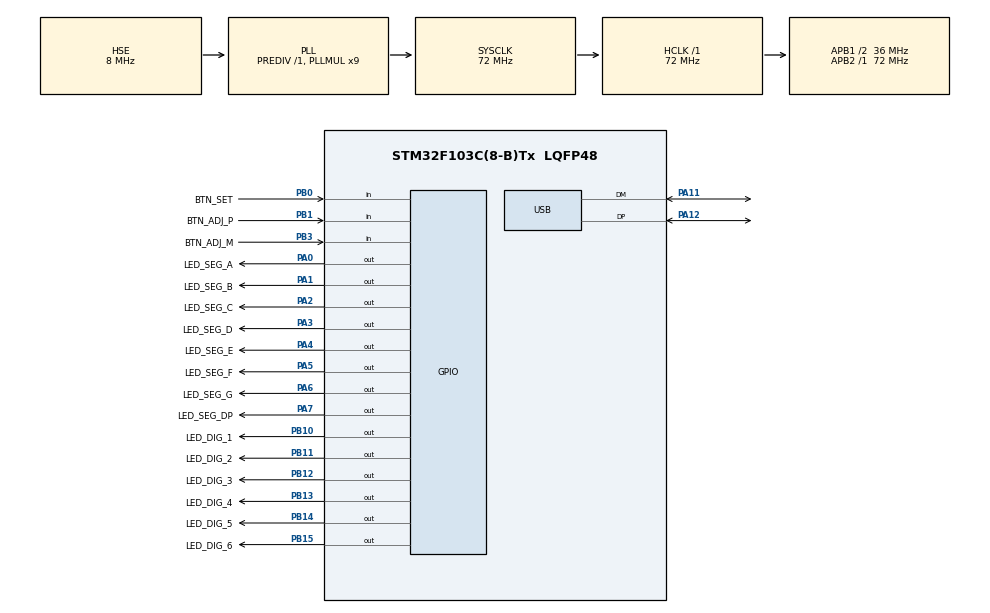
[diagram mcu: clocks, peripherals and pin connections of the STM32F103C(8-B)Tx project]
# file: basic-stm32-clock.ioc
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Mcu.Family=STM32F1
Mcu.Name=STM32F103C(8-B)Tx
Mcu.Package=LQFP48
NVIC.PriorityGroup=NVIC_PRIORITYGROUP_4
NVIC.RTC_IRQn=true\:0\:0\:false\:false\:true\:true\:true\:true
NVIC.USB_LP_CAN1_RX0_IRQn=true\:0\:0\:false\:false\:true\:false\:true\:true
PA0-WKUP.GPIO_Label=LED_SEG_A
PA0-WKUP.GPIO_Speed=GPIO_SPEED_FREQ_LOW
PA0-WKUP.Signal=GPIO_Output
PA1.GPIO_Label=LED_SEG_B
PA1.GPIO_Speed=GPIO_SPEED_FREQ_LOW
PA1.Signal=GPIO_Output
PA11.Mode=Device
PA11.Signal=USB_DM
PA12.Mode=Device
PA12.Signal=USB_DP
PA13.Mode=Serial_Wire
PA13.Signal=SYS_JTMS-SWDIO
PA14.Mode=Serial_Wire
PA14.Signal=SYS_JTCK-SWCLK
PA2.GPIO_Label=LED_SEG_C
PA2.GPIO_Speed=GPIO_SPEED_FREQ_LOW
PA2.Signal=GPIO_Output
PA3.GPIO_Label=LED_SEG_D
PA3.GPIO_Speed=GPIO_SPEED_FREQ_LOW
PA3.Signal=GPIO_Output
PA4.GPIO_Label=LED_SEG_E
PA4.GPIO_Speed=GPIO_SPEED_FREQ_LOW
PA4.Signal=GPIO_Output
PA5.GPIO_Label=LED_SEG_F
PA5.GPIO_Speed=GPIO_SPEED_FREQ_LOW
PA5.Signal=GPIO_Output
PA6.GPIO_Label=LED_SEG_G
PA6.GPIO_Speed=GPIO_SPEED_FREQ_LOW
PA6.Signal=GPIO_Output
PA7.GPIO_Label=LED_SEG_DP
PA7.GPIO_Speed=GPIO_SPEED_FREQ_LOW
PA7.Signal=GPIO_Output
PB0.GPIO_Label=BTN_SET
PB0.Signal=GPIO_Input
PB1.GPIO_Label=BTN_ADJ_P
PB1.Signal=GPIO_Input
PB10.GPIO_Label=LED_DIG_1
PB10.GPIO_Speed=GPIO_SPEED_FREQ_LOW
PB10.Signal=GPIO_Output
PB11.GPIO_Label=LED_DIG_2
PB11.GPIO_Speed=GPIO_SPEED_FREQ_LOW
PB11.Signal=GPIO_Output
PB12.GPIO_Label=LED_DIG_3
PB12.GPIO_Speed=GPIO_SPEED_FREQ_LOW
PB12.Signal=GPIO_Output
PB13.GPIO_Label=LED_DIG_4
PB13.GPIO_Speed=GPIO_SPEED_FREQ_LOW
PB13.Signal=GPIO_Output
PB14.GPIO_Label=LED_DIG_5
PB14.GPIO_Speed=GPIO_SPEED_FREQ_LOW
PB14.Signal=GPIO_Output
PB15.GPIO_Label=LED_DIG_6
PB15.GPIO_Speed=GPIO_SPEED_FREQ_LOW
PB15.Signal=GPIO_Output
PB3.GPIO_Label=BTN_ADJ_M
PB3.Signal=GPIO_Input
PC14-OSC32_IN.Mode=LSE-External-Oscillator
PC14-OSC32_IN.Signal=RCC_OSC32_IN
PC15-OSC32_OUT.Mode=LSE-External-Oscillator
PC15-OSC32_OUT.Signal=RCC_OSC32_OUT
PD0-OSC_IN.Mode=HSE-External-Oscillator
PD0-OSC_IN.Signal=RCC_OSC_IN
PD1-OSC_OUT.Mode=HSE-External-Oscillator
PD1-OSC_OUT.Signal=RCC_OSC_OUT
ProjectManager.HeapSize=0x200
ProjectManager.StackSize=0x400
ProjectManager.TargetToolchain=STM32CubeIDE
RCC.AHBFreq_Value=72000000
RCC.APB1CLKDivider=RCC_HCLK_DIV2
RCC.APB1Freq_Value=36000000
RCC.APB1TimFreq_Value=72000000
RCC.APB2Freq_Value=72000000
RCC.APB2TimFreq_Value=72000000
RCC.HCLKFreq_Value=72000000
RCC.PLLMUL=RCC_PLL_MUL9
RCC.RTCClockSelection=RCC_RTCCLKSOURCE_LSE
RCC.SYSCLKFreq_VALUE=72000000
RCC.SYSCLKSource=RCC_SYSCLKSOURCE_PLLCLK
RCC.USBFreq_Value=48000000
RCC.USBPrescaler=RCC_USBCLKSOURCE_PLL_DIV1_5
USB_DEVICE.CLASS_NAME_FS=CDC
USB_DEVICE.VirtualMode=Cdc
USB_DEVICE.VirtualModeFS=Cdc_FS
VP_RTC_VS_RTC_Activate.Mode=RTC_Enabled
VP_RTC_VS_RTC_Calendar.Mode=RTC_Calendar
VP_USB_DEVICE_VS_USB_DEVICE_CDC_FS.Mode=CDC_FS
board=custom

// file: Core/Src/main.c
/* USER CODE BEGIN Header */
/**
 ******************************************************************************
 * @file           : main.c
 * @brief          : Main program body
 ******************************************************************************
 * @attention
 *
 * Copyright (c) 2023 STMicroelectronics.
 * All rights reserved.
 *
 * This software is licensed under terms that can be found in the LICENSE file
 * in the root directory of this software component.
 * If no LICENSE file comes with this software, it is provided AS-IS.
 *
 ******************************************************************************
 */
/* USER CODE END Header */
#include "main.h"
#include "usb_device.h"

/* USER CODE BEGIN Includes */
#include "utils.h"
#include "usbd_cdc_if.h"
#include "stdio.h"
#include "string.h"

/* USER CODE END Includes */

RTC_HandleTypeDef hrtc;

void SystemClock_Config(void);
static void MX_GPIO_Init(void);
static void MX_RTC_Init(void);

/* USER CODE BEGIN 0 */
volatile SystemMode current_mode;
uint32_t counter = 0;
RTC_TimeTypeDef current_time;
RTC_TimeTypeDef user_time;
uint8_t user_time_dirty = 0;
SystemState sys_state = { .digits = { 0 }, .dps = { 0 } };

Button btn_set = { BTN_SET_Pin, BTN_GPIO_Port, 0, 0, 0, 10000 };
Button btn_adj_p = { BTN_ADJ_P_Pin, BTN_GPIO_Port, 0, 0, 0, 10000 };
Button btn_adj_m = { BTN_ADJ_M_Pin, BTN_GPIO_Port, 0, 0, 0, 10000 };

RTC_DateTypeDef DateToUpdate = { 0 };

LEDFlasher dp_flasher = { .dp_idx = 0, .flash = 0, .timer = 0 };

unsigned char strTick[4] = "Tick";

static const uint8_t segmentNumber[10] = { 0x3f, // 0
		0x06, // 1
		0x5b, // 2
		0x4f, // 3
		0x66, // 4
		0x6d, // 5
		0x7d, // 6
		0x07, // 7
		0x7f, // 8
		0x67  // 9
		};

void display_digit_dp(uint8_t digit, uint8_t num, uint8_t dp) {
	// Turn off all segments
	HAL_GPIO_WritePin(LED_SEG_GPIO_Port,
			LED_SEG_A_Pin | LED_SEG_B_Pin | LED_SEG_C_Pin | LED_SEG_D_Pin
					| LED_SEG_E_Pin | LED_SEG_F_Pin | LED_SEG_G_Pin
					| LED_SEG_DP_Pin, GPIO_PIN_RESET);

	// Turn off all digits
	HAL_GPIO_WritePin(LED_DIG_GPIO_Port,
			LED_DIG_1_Pin | LED_DIG_2_Pin | LED_DIG_3_Pin | LED_DIG_4_Pin
					| LED_DIG_5_Pin | LED_DIG_6_Pin, GPIO_PIN_SET);

	uint8_t segments = (num < 10) ? segmentNumber[num] : 0;
	if (dp)
		segments |= (1 << 7);

	HAL_GPIO_WritePin(LED_SEG_GPIO_Port, LED_SEG_A_Pin,
			((segments >> 0) & 0x01));
	HAL_GPIO_WritePin(LED_SEG_GPIO_Port, LED_SEG_B_Pin,
			((segments >> 1) & 0x01));
	HAL_GPIO_WritePin(LED_SEG_GPIO_Port, LED_SEG_C_Pin,
			((segments >> 2) & 0x01));
	HAL_GPIO_WritePin(LED_SEG_GPIO_Port, LED_SEG_D_Pin,
			((segments >> 3) & 0x01));
	HAL_GPIO_WritePin(LED_SEG_GPIO_Port, LED_SEG_E_Pin,
			((segments >> 4) & 0x01));
	HAL_GPIO_WritePin(LED_SEG_GPIO_Port, LED_SEG_F_Pin,
			((segments >> 5) & 0x01));
	HAL_GPIO_WritePin(LED_SEG_GPIO_Port, LED_SEG_G_Pin,
			((segments >> 6) & 0x01));
	HAL_GPIO_WritePin(LED_SEG_GPIO_Port, LED_SEG_DP_Pin,
			((segments >> 7) & 0x01));

	// Finally, turn on the desired digit
	HAL_GPIO_WritePin(LED_DIG_GPIO_Port, 1 << (digit + 10), GPIO_PIN_RESET);
}

void clear_display() {
	// Turn off all segments
	HAL_GPIO_WritePin(LED_SEG_GPIO_Port,
			LED_SEG_A_Pin | LED_SEG_B_Pin | LED_SEG_C_Pin | LED_SEG_D_Pin
					| LED_SEG_E_Pin | LED_SEG_F_Pin | LED_SEG_G_Pin
					| LED_SEG_DP_Pin, GPIO_PIN_RESET);

	// Turn off all digits
	HAL_GPIO_WritePin(LED_DIG_GPIO_Port,
			LED_DIG_1_Pin | LED_DIG_2_Pin | LED_DIG_3_Pin | LED_DIG_4_Pin
					| LED_DIG_5_Pin | LED_DIG_6_Pin, GPIO_PIN_SET);
}

void update_time(RTC_TimeTypeDef *time, SystemState *state) {
	state->digits[0] = (time->Hours & 0xF0) >> 4;
	state->digits[1] = time->Hours & 0x0F;
	state->digits[2] = (time->Minutes & 0xF0) >> 4;
	state->digits[3] = time->Minutes & 0x0F;
	state->digits[4] = (time->Seconds & 0xF0) >> 4;
	state->digits[5] = time->Seconds & 0x0F;

}

void check_button(Button *button) {
	uint32_t currentTime = HAL_GetTick();
	if (currentTime - button->lassPressTime < button->cooldownPeriod) {
		return;
	}

	if (HAL_GPIO_ReadPin(button->port, button->pin) == GPIO_PIN_SET) {
		if (button->counter < DEBOUNCE_THRESHOLD) {
			button->counter++;

		}
		if (button->counter >= DEBOUNCE_THRESHOLD) {
			if (!button->processed) {
				button->pressed = 1;
				button->processed = 1;  // Mark the button press as processed
				button->lassPressTime = currentTime; // Update the last press time

			} else {
				// Button held past processed
				button->pressed = 0;
			}

		}
	} else {
		button->counter = DEBOUNCE_RESET;
		button->processed = 0;  // Clear the processed flag
		button->pressed = 0;    // Clear the pressed flag
	}
}

void check_buttons() {
	check_button(&btn_set);
	check_button(&btn_adj_p);
	check_button(&btn_adj_m);
}

void update_display(SystemState *state) {
	if (dp_flasher.flash) {
		state->dps[dp_flasher.dp_idx] = 1;

		if (HAL_GetTick() - dp_flasher.timer >= 100) {
			state->dps[dp_flasher.dp_idx] = 0;
			dp_flasher.flash = 0;
		}
	}

	for (uint8_t d = 0; d < 6; d++) {
		display_digit_dp(d, state->digits[d], state->dps[d]);
		HAL_Delay(1);
		clear_display();
	}
}

void serialDebug(const char *message) {
	char buffer[256];

	uint8_t day = bcd_to_bin(DateToUpdate.Date);
	uint8_t month = bcd_to_bin(DateToUpdate.Month);
	uint16_t year = bcd_to_bin(DateToUpdate.Year) + 2000;
	uint8_t hours = bcd_to_bin(current_time.Hours);
	uint8_t minutes = bcd_to_bin(current_time.Minutes);
	uint8_t seconds = bcd_to_bin(current_time.Seconds);

	snprintf(buffer, sizeof(buffer), "%02d-%02d-%04d %02d:%02d:%02d > %s\r\n",
			day, month, year, hours, minutes, seconds, message);

	CDC_Transmit_FS((uint8_t*) buffer, strlen(buffer));
}

/* USER CODE END 0 */

int main(void) {
	/* USER CODE BEGIN 1 */
	current_mode = NORMAL;

	/* USER CODE END 1 */

	/* MCU Configuration--------------------------------------------------------*/

	/* Reset of all peripherals, Initializes the Flash interface and the Systick. */
	HAL_Init();

	/* Configure the system clock */
	SystemClock_Config();

	/* Initialize all configured peripherals */
	MX_GPIO_Init();
	MX_RTC_Init();
	MX_USB_DEVICE_Init();
	/* USER CODE BEGIN 2 */

	HAL_GPIO_WritePin(LED_SEG_GPIO_Port, LED_SEG_A_Pin, GPIO_PIN_RESET);
	HAL_GPIO_WritePin(LED_SEG_GPIO_Port, LED_SEG_B_Pin, GPIO_PIN_RESET);
	HAL_GPIO_WritePin(LED_SEG_GPIO_Port, LED_SEG_C_Pin, GPIO_PIN_RESET);
	HAL_GPIO_WritePin(LED_SEG_GPIO_Port, LED_SEG_D_Pin, GPIO_PIN_RESET);
	HAL_GPIO_WritePin(LED_SEG_GPIO_Port, LED_SEG_E_Pin, GPIO_PIN_RESET);
	HAL_GPIO_WritePin(LED_SEG_GPIO_Port, LED_SEG_F_Pin, GPIO_PIN_RESET);
	HAL_GPIO_WritePin(LED_SEG_GPIO_Port, LED_SEG_G_Pin, GPIO_PIN_RESET);
	HAL_GPIO_WritePin(LED_SEG_GPIO_Port, LED_SEG_DP_Pin, GPIO_PIN_RESET);

	HAL_GPIO_WritePin(LED_DIG_GPIO_Port,
			LED_DIG_1_Pin | LED_DIG_2_Pin | LED_DIG_3_Pin | LED_DIG_4_Pin
					| LED_DIG_5_Pin | LED_DIG_6_Pin, GPIO_PIN_SET);

	sys_state.dps[0] = 0;
	sys_state.dps[1] = 0;
	sys_state.dps[2] = 0;
	sys_state.dps[3] = 0;
	sys_state.dps[4] = 0;
	sys_state.dps[5] = 0;

	HAL_RTC_GetTime(&hrtc, &current_time, RTC_FORMAT_BCD);
	HAL_RTC_GetTime(&hrtc, &user_time, RTC_FORMAT_BCD);

	HAL_RTCEx_SetSecond_IT(&hrtc);

	// Read buffer
	uint8_t rxData[8];
	memset(rxData, 0, 8);

	// Send UART start
	serialDebug("Init Complete. Starting...");

	/* USER CODE END 2 */

	/* Infinite loop */
	/* USER CODE BEGIN WHILE */
	while (1) {

		// 1. Check for button presses
		check_buttons();

		// 2. Update System State & Mode
		switch (current_mode) {
		case NORMAL:
			if (btn_set.pressed) {
				current_mode = SET_HOURS;
				serialDebug("set hours mode");
			} else {
				// Update time from RTC
				HAL_RTC_GetTime(&hrtc, &current_time, RTC_FORMAT_BCD);
				update_time(&current_time, &sys_state);
				update_display(&sys_state);
			}

			break;

		case SET_HOURS:
			if (btn_adj_p.pressed) {
				user_time.Hours = (user_time.Hours + 1) % 24;
				user_time_dirty = 1;
				serialDebug("+ hours");
			}

			if (btn_adj_m.pressed) {
				user_time.Hours = (user_time.Hours - 1 + 24) % 24; // Not sure if this is right
				user_time_dirty = 1;
				serialDebug("- hours");
			}

			if (btn_set.pressed) {
				current_mode = SET_MINUTES;
				serialDebug("set minutes mode");
			} else {
				// Draw the display, show only hours
				update_time(&user_time, &sys_state);
				sys_state.digits[2] = 10;
				sys_state.digits[3] = 10;
				sys_state.digits[4] = 10;
				sys_state.digits[5] = 10;
				update_display(&sys_state);
			}

			break;

		case SET_MINUTES:
			if (btn_adj_p.pressed) {
				user_time.Minutes = (user_time.Minutes + 1) % 60;
				user_time_dirty = 1;
				serialDebug("+ min");
			}

			if (btn_adj_m.pressed) {
				user_time.Minutes = (user_time.Minutes - 1 + 60) % 60;
				user_time_dirty = 1;
				serialDebug("- min");
			}

			if (btn_set.pressed) {
				current_mode = SET_SECONDS;
				serialDebug("set seconds mode");
			} else {
				// Draw the display, show only minutes
				update_time(&user_time, &sys_state);
				sys_state.digits[0] = 10;
				sys_state.digits[1] = 10;
				sys_state.digits[4] = 10;
				sys_state.digits[5] = 10;
				update_display(&sys_state);
			}

			break;

		case SET_SECONDS:
			if (btn_adj_p.pressed) {
				user_time.Seconds = (user_time.Seconds + 1) % 60;
				user_time_dirty = 1;
				serialDebug("+ sec");
			}

			if (btn_adj_m.pressed) {
				user_time.Seconds = (user_time.Seconds - 1 + 60) % 60;
				user_time_dirty = 1;
				serialDebug("- sec");
			}

			if (btn_set.pressed) {
				if (user_time_dirty) {
					serialDebug("time dirty, updating");
					update_time(&user_time, &sys_state);
					current_time.Hours = user_time.Hours;
					current_time.Minutes = user_time.Minutes;
					current_time.Seconds = user_time.Seconds;
					HAL_RTC_SetTime(&hrtc, &current_time, RTC_FORMAT_BCD);
					user_time_dirty = 0;
				}
				current_mode = NORMAL;
				serialDebug("set normal mode");
			} else {
				// Draw the display, show only seconds
				update_time(&user_time, &sys_state);
				sys_state.digits[0] = 10;
				sys_state.digits[1] = 10;
				sys_state.digits[2] = 10;
				sys_state.digits[3] = 10;
				update_display(&sys_state);
			}

			break;

		}

		// UART
		// Echo data
		uint16_t bytesAvailable = CDC_GetRxBufferBytesAvailable_FS();
		if (bytesAvailable > 0) {
			uint16_t bytesToRead = bytesAvailable >= 8 ? 8 : bytesAvailable;
			if (CDC_ReadRxBuffer_FS(rxData, bytesToRead)
					== USB_CDC_RX_BUFFER_OK) {
				while (CDC_Transmit_FS(rxData, bytesToRead) == USBD_BUSY)
					;
			}
		}

		/* USER CODE END WHILE */

	}
}

void SystemClock_Config(void) {
	RCC_OscInitTypeDef RCC_OscInitStruct = { 0 };
	RCC_ClkInitTypeDef RCC_ClkInitStruct = { 0 };
	RCC_PeriphCLKInitTypeDef PeriphClkInit = { 0 };

	/** Initializes the RCC Oscillators according to the specified parameters
	 * in the RCC_OscInitTypeDef structure.
	 */
	RCC_OscInitStruct.OscillatorType = RCC_OSCILLATORTYPE_HSE
			| RCC_OSCILLATORTYPE_LSE;
	RCC_OscInitStruct.HSEState = RCC_HSE_ON;
	RCC_OscInitStruct.HSEPredivValue = RCC_HSE_PREDIV_DIV1;
	RCC_OscInitStruct.LSEState = RCC_LSE_ON;
	RCC_OscInitStruct.HSIState = RCC_HSI_ON;
	RCC_OscInitStruct.PLL.PLLState = RCC_PLL_ON;
	RCC_OscInitStruct.PLL.PLLSource = RCC_PLLSOURCE_HSE;
	RCC_OscInitStruct.PLL.PLLMUL = RCC_PLL_MUL9;
	if (HAL_RCC_OscConfig(&RCC_OscInitStruct) != HAL_OK) {
		Error_Handler();
	}

	/** Initializes the CPU, AHB and APB buses clocks
	 */
	RCC_ClkInitStruct.ClockType = RCC_CLOCKTYPE_HCLK | RCC_CLOCKTYPE_SYSCLK
			| RCC_CLOCKTYPE_PCLK1 | RCC_CLOCKTYPE_PCLK2;
	RCC_ClkInitStruct.SYSCLKSource = RCC_SYSCLKSOURCE_PLLCLK;
	RCC_ClkInitStruct.AHBCLKDivider = RCC_SYSCLK_DIV1;
	RCC_ClkInitStruct.APB1CLKDivider = RCC_HCLK_DIV2;
	RCC_ClkInitStruct.APB2CLKDivider = RCC_HCLK_DIV1;

	if (HAL_RCC_ClockConfig(&RCC_ClkInitStruct, FLASH_LATENCY_2) != HAL_OK) {
		Error_Handler();
	}
	PeriphClkInit.PeriphClockSelection = RCC_PERIPHCLK_RTC | RCC_PERIPHCLK_USB;
	PeriphClkInit.RTCClockSelection = RCC_RTCCLKSOURCE_LSE;
	PeriphClkInit.UsbClockSelection = RCC_USBCLKSOURCE_PLL_DIV1_5;
	if (HAL_RCCEx_PeriphCLKConfig(&PeriphClkInit) != HAL_OK) {
		Error_Handler();
	}
}

static void MX_RTC_Init(void) {

	/* USER CODE BEGIN RTC_Init 0 */
	HAL_PWR_EnableBkUpAccess();

	/* USER CODE END RTC_Init 0 */

	RTC_TimeTypeDef sTime = { 0 };
	RTC_DateTypeDef DateToUpdate = { 0 };

	/** Initialize RTC Only
	 */
	hrtc.Instance = RTC;
	hrtc.Init.AsynchPrediv = RTC_AUTO_1_SECOND;
	hrtc.Init.OutPut = RTC_OUTPUTSOURCE_ALARM;
	if (HAL_RTC_Init(&hrtc) != HAL_OK) {
		Error_Handler();
	}

	/* USER CODE BEGIN Check_RTC_BKUP */
	if (HAL_RTCEx_BKUPRead(&hrtc, RTC_BKP_DR1) != RTC_BKUP_DEFINE_CODE) {
		// Clear Backup register : recover to current RTC information

		// Set to Time/Date from current Time/Date
		sTime.Hours = 0x0;
		sTime.Minutes = 0x0;
		sTime.Seconds = 0x0;

		if (HAL_RTC_SetTime(&hrtc, &sTime, RTC_FORMAT_BCD) != HAL_OK) {
			Error_Handler();
		}
		DateToUpdate.WeekDay = RTC_WEEKDAY_MONDAY;
		DateToUpdate.Month = RTC_MONTH_JANUARY;
		DateToUpdate.Date = 0x1;
		DateToUpdate.Year = 0x0;

		if (HAL_RTC_SetDate(&hrtc, &DateToUpdate, RTC_FORMAT_BCD) != HAL_OK) {
			Error_Handler();
		}

		// Write a data in ad RTC Backup data register
		HAL_RTCEx_BKUPWrite(&hrtc, RTC_BKP_DR1, RTC_BKUP_DEFINE_CODE);
	} else {
		// Only read time and date
		HAL_RTC_GetTime(&hrtc, &sTime, RTC_FORMAT_BCD);
		HAL_RTC_GetDate(&hrtc, &DateToUpdate, RTC_FORMAT_BCD);

	}
	/* USER CODE END Check_RTC_BKUP */

	/** Initialize RTC and set the Time and Date
	 */
//	sTime.Hours = 0x0;
//	sTime.Minutes = 0x0;
//	sTime.Seconds = 0x0;
//
//	if (HAL_RTC_SetTime(&hrtc, &sTime, RTC_FORMAT_BCD) != HAL_OK) {
//		Error_Handler();
//	}
//	DateToUpdate.WeekDay = RTC_WEEKDAY_MONDAY;
//	DateToUpdate.Month = RTC_MONTH_JANUARY;
//	DateToUpdate.Date = 0x1;
//	DateToUpdate.Year = 0x0;
//
//	if (HAL_RTC_SetDate(&hrtc, &DateToUpdate, RTC_FORMAT_BCD) != HAL_OK) {
//		Error_Handler();
//	}

}

static void MX_GPIO_Init(void) {
	GPIO_InitTypeDef GPIO_InitStruct = { 0 };

	/* GPIO Ports Clock Enable */
	__HAL_RCC_GPIOC_CLK_ENABLE();
	__HAL_RCC_GPIOD_CLK_ENABLE();
	__HAL_RCC_GPIOA_CLK_ENABLE();
	__HAL_RCC_GPIOB_CLK_ENABLE();

	/*Configure GPIO pin Output Level */
	HAL_GPIO_WritePin(GPIOA,
			LED_SEG_A_Pin | LED_SEG_B_Pin | LED_SEG_C_Pin | LED_SEG_D_Pin
					| LED_SEG_E_Pin | LED_SEG_F_Pin | LED_SEG_G_Pin
					| LED_SEG_DP_Pin, GPIO_PIN_RESET);

	/*Configure GPIO pin Output Level */
	HAL_GPIO_WritePin(GPIOB,
			LED_DIG_1_Pin | LED_DIG_2_Pin | LED_DIG_3_Pin | LED_DIG_4_Pin
					| LED_DIG_5_Pin | LED_DIG_6_Pin, GPIO_PIN_RESET);

	/*Configure GPIO pins : LED_SEG_A_Pin LED_SEG_B_Pin LED_SEG_C_Pin LED_SEG_D_Pin
	 LED_SEG_E_Pin LED_SEG_F_Pin LED_SEG_G_Pin LED_SEG_DP_Pin */
	GPIO_InitStruct.Pin = LED_SEG_A_Pin | LED_SEG_B_Pin | LED_SEG_C_Pin
			| LED_SEG_D_Pin | LED_SEG_E_Pin | LED_SEG_F_Pin | LED_SEG_G_Pin
			| LED_SEG_DP_Pin;
	GPIO_InitStruct.Mode = GPIO_MODE_OUTPUT_PP;
	GPIO_InitStruct.Pull = GPIO_NOPULL;
	GPIO_InitStruct.Speed = GPIO_SPEED_FREQ_LOW;
	HAL_GPIO_Init(GPIOA, &GPIO_InitStruct);

	/*Configure GPIO pins : BTN_SET_Pin BTN_ADJ_P_Pin BTN_ADJ_M_Pin */
	GPIO_InitStruct.Pin = BTN_SET_Pin | BTN_ADJ_P_Pin | BTN_ADJ_M_Pin;
	GPIO_InitStruct.Mode = GPIO_MODE_INPUT;
	GPIO_InitStruct.Pull = GPIO_NOPULL;
	HAL_GPIO_Init(GPIOB, &GPIO_InitStruct);

	/*Configure GPIO pins : LED_DIG_1_Pin LED_DIG_2_Pin LED_DIG_3_Pin LED_DIG_4_Pin
	 LED_DIG_5_Pin LED_DIG_6_Pin */
	GPIO_InitStruct.Pin = LED_DIG_1_Pin | LED_DIG_2_Pin | LED_DIG_3_Pin
			| LED_DIG_4_Pin | LED_DIG_5_Pin | LED_DIG_6_Pin;
	GPIO_InitStruct.Mode = GPIO_MODE_OUTPUT_PP;
	GPIO_InitStruct.Pull = GPIO_NOPULL;
	GPIO_InitStruct.Speed = GPIO_SPEED_FREQ_LOW;
	HAL_GPIO_Init(GPIOB, &GPIO_InitStruct);

}

/* USER CODE BEGIN 4 */

void HAL_RTCEx_RTCEventCallback(RTC_HandleTypeDef *hrtc) {
	// Flash the first DP led each time this callback fires
	dp_flasher.flash = 1;
	dp_flasher.timer = HAL_GetTick();

	HAL_RTC_GetTime(hrtc, &current_time, RTC_FORMAT_BCD);
	HAL_RTC_GetDate(hrtc, &DateToUpdate, RTC_FORMAT_BCD);
}

/* USER CODE END 4 */

void Error_Handler(void) {
	__disable_irq();
	while (1) {
	}
}
